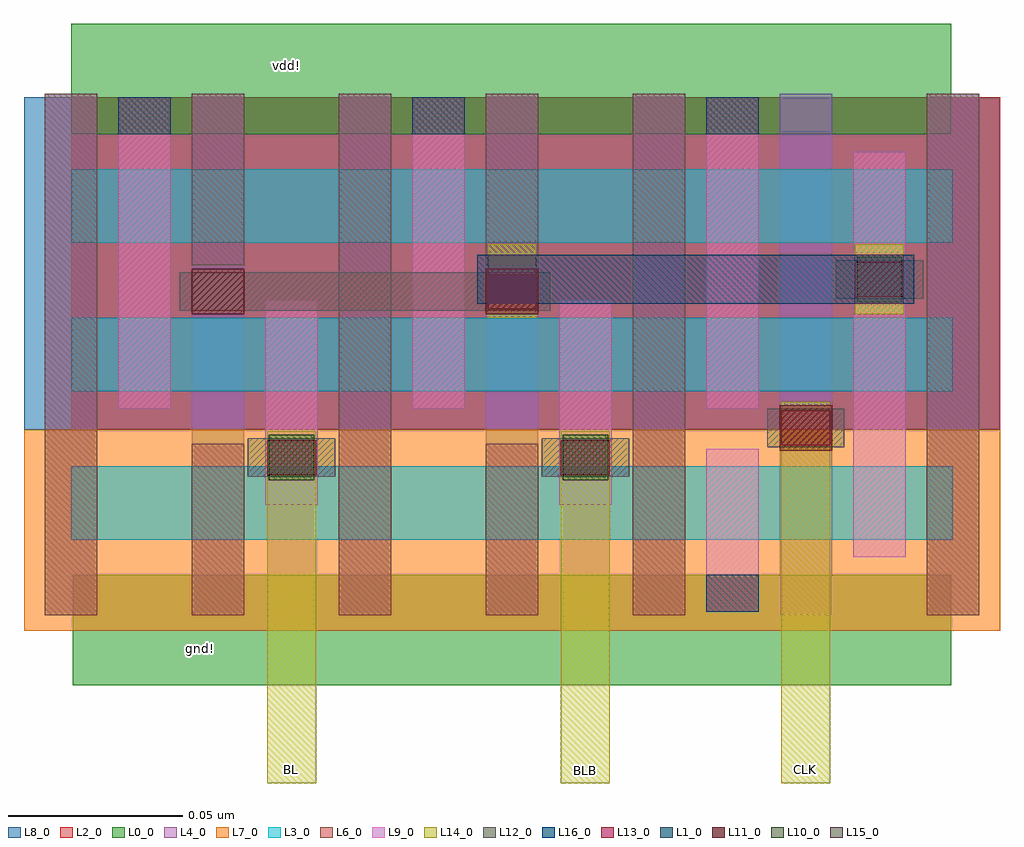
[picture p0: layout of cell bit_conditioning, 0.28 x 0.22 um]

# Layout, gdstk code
import gdstk
lib = gdstk.Library(unit=1e-6, precision=5e-10)
def R(c, l, rs):  # rectangles x0, y0, x1, y1
    for r in rs: c.add(gdstk.rectangle(r[:2], r[2:], *l))
def A(c, l, x, y, w, h, nx, ny, dx, dy):  # array of equal rectangles
    R(c, l, [(x+i*dx, y+j*dy, x+i*dx+w, y+j*dy+h) for i in range(nx) for j in range(ny)])
L0_0 = (0, 0)
L1_0 = (1, 0)
L2_0 = (2, 0)
L3_0 = (3, 0)
L4_0 = (4, 0)
L6_0 = (6, 0)
L7_0 = (7, 0)
L8_0 = (8, 0)
L9_0 = (9, 0)
L10_0 = (10, 0)
L11_0 = (11, 0)
L12_0 = (12, 0)
L13_0 = (13, 0)
L14_0 = (14, 0)
L15_0 = (15, 0)
L16_0 = (16, 0)

gate_m0b = lib.new_cell('GATE_M0B')
R(gate_m0b, L4_0, [(-0.0075,-0.0115,0.0075,0.0115)])
R(gate_m0b, L11_0, [(-0.0075,-0.0065,0.0075,0.0065)])
R(gate_m0b, L12_0, [(-0.011,-0.0055,0.011,0.0055)])

pmos = lib.new_cell('pmos')
R(pmos, L2_0, [(-0.042,-0.0205,0.042,0.0205)])
R(pmos, L3_0, [(-0.042,-0.0105,0.042,0.0105)])
A(pmos, L4_0, -0.0495, -0.032, 0.015, 0.064, 3, 1, 0.042, 0)
R(pmos, L8_0, [(-0.0555,-0.0205,0.0555,0.0205)])
R(pmos, L9_0, [(-0.0285,-0.0155,-0.0135,0.0155), (0.0135,-0.0155,0.0285,0.0155)])

bpr_m0a = lib.new_cell('BPR_M0A')
R(bpr_m0a, L0_0, [(-0.021,-0.0055,0.021,0.026)])
R(bpr_m0a, L1_0, [(-0.0075,-0.0055,0.0075,0.005)])
R(bpr_m0a, L9_0, [(-0.0075,-0.0165,0.0075,0.005)])

m0a_m0b = lib.new_cell('M0A_M0B')
R(m0a_m0b, L9_0, [(-0.0075,-0.0055,0.0075,0.0055)])
R(m0a_m0b, L10_0, [(-0.0065,-0.0065,0.0065,0.0065)])
R(m0a_m0b, L12_0, [(-0.0125,-0.0055,0.0125,0.0055)])

m0b_m1 = lib.new_cell('M0B_M1')
R(m0b_m1, L12_0, [(-0.011,-0.005,0.011,0.005)])
R(m0b_m1, L13_0, [(-0.007,-0.005,0.007,0.005)])
R(m0b_m1, L14_0, [(-0.007,-0.0075,0.007,0.0075)])

nmos = lib.new_cell('nmos')
R(nmos, L3_0, [(-0.042,-0.0105,0.042,0.0105)])
A(nmos, L4_0, -0.0495, -0.032, 0.015, 0.064, 3, 1, 0.042, 0)
R(nmos, L7_0, [(-0.0555,-0.021,0.0555,0.0205)])
R(nmos, L9_0, [(-0.0285,-0.0155,-0.0135,0.0155), (0.0135,-0.0155,0.0285,0.0155)])

inv_2 = lib.new_cell('inv_2')
R(inv_2, L0_0, [(-0.042,-0.052,0.0415,-0.0205), (0.012,-0.0415,0.031,-0.0285), (-0.042,0.1055,0.0415,0.137), (0.0105,0.114,0.0315,0.127)])
R(inv_2, L2_0, [(-0.0555,0.021,0.0555,0.116)])
R(inv_2, L6_0, [(-0.0495,-0.032,-0.0345,0.117), (0.0345,-0.032,0.0495,0.117)])
R(inv_2, L7_0, [(-0.0555,-0.0365,0.0555,0.021)])
R(inv_2, L8_0, [(-0.0555,0.021,0.0555,0.116)])
R(inv_2, L9_0, [(0.0135,0.0155,0.0285,0.027), (-0.0285,0.058,-0.0135,0.0695), (0.0135,0.058,0.0285,0.0695)])
R(inv_2, L12_0, [(-0.0075,0.016,0.0075,0.027), (0.0135,0.0585,0.0285,0.0695)])
inv_2.add(gdstk.Reference(nmos, (0,0)))
inv_2.add(gdstk.Reference(pmos, (0,0.085)))
inv_2.add(gdstk.Reference(pmos, (0,0.0425)))
inv_2.add(gdstk.Reference(bpr_m0a, (-0.021,-0.026), x_reflection=True))
inv_2.add(gdstk.Reference(bpr_m0a, (-0.021,0.111)))
inv_2.add(gdstk.Reference(m0a_m0b, (0.021,0.064)))
inv_2.add(gdstk.Reference(gate_m0b, (0,0.0215)))
inv_2.add(gdstk.Label('gnd!', (0.0215,-0.035), layer=0, texttype=0))
inv_2.add(gdstk.Label('vdd!', (0.021,0.1205), layer=0, texttype=0))
inv_2.add(gdstk.Label('Z', (0.021,0.064), layer=12, texttype=0))
inv_2.add(gdstk.Label('A', (0,0.0215), layer=12, texttype=0))

m1_m2 = lib.new_cell('M1_M2')
R(m1_m2, L14_0, [(-0.007,-0.01,0.007,0.01)])
R(m1_m2, L15_0, [(-0.007,-0.007,0.007,0.007)])
R(m1_m2, L16_0, [(-0.01,-0.007,0.01,0.007)])

bit_conditioning = lib.new_cell('bit_conditioning')
R(bit_conditioning, L0_0, [(0.5405,0.365,0.708,0.3965), (0.566,0.369,0.5885,0.382), (0.5405,0.5225,0.708,0.554), (0.592,0.536,0.6115,0.5485)])
R(bit_conditioning, L2_0, [(0.54,0.438,0.6945,0.533)])
R(bit_conditioning, L3_0, [(0.54,0.4065,0.624,0.4275), (0.624,0.4065,0.708,0.4275), (0.54,0.4915,0.624,0.5125), (0.624,0.4915,0.708,0.5125)])
A(bit_conditioning, L4_0, 0.5325, 0.385, 0.015, 0.0425, 4, 2, 0.042, 0.1065)
R(bit_conditioning, L4_0, [(0.6585,0.4915,0.6735,0.534)])
A(bit_conditioning, L6_0, 0.5745, 0.385, 0.015, 0.049, 3, 2, 0.042, 0.1)
R(bit_conditioning, L6_0, [(0.5325,0.385,0.5475,0.534), (0.6165,0.434,0.6315,0.485)])
R(bit_conditioning, L7_0, [(0.5265,0.3805,0.6945,0.438)])
R(bit_conditioning, L8_0, [(0.5265,0.438,0.6945,0.533)])
R(bit_conditioning, L9_0, [(0.5955,0.4165,0.6105,0.444), (0.6795,0.4165,0.6945,0.444), (0.5955,0.4225,0.6105,0.4275), (0.6795,0.4225,0.6945,0.444), (0.5535,0.475,0.5685,0.519), (0.6375,0.475,0.6525,0.519)])
R(bit_conditioning, L12_0, [(0.571,0.472,0.677,0.483)])
R(bit_conditioning, L14_0, [(0.596,0.337,0.61,0.345), (0.596,0.337,0.61,0.4375), (0.68,0.337,0.694,0.3445), (0.68,0.337,0.694,0.4375), (0.743,0.337,0.757,0.446), (0.743,0.337,0.757,0.345), (0.659,0.47,0.673,0.491)])
R(bit_conditioning, L16_0, [(0.656,0.474,0.781,0.488)])
bit_conditioning.add(gdstk.Reference(gate_m0b, (0.582,0.4775)))
bit_conditioning.add(gdstk.Reference(gate_m0b, (0.666,0.4775)))
bit_conditioning.add(gdstk.Reference(pmos, (0.582,0.4595)))
bit_conditioning.add(gdstk.Reference(pmos, (0.666,0.4595)))
bit_conditioning.add(gdstk.Reference(bpr_m0a, (0.561,0.528)))
bit_conditioning.add(gdstk.Reference(bpr_m0a, (0.645,0.528)))
bit_conditioning.add(gdstk.Reference(m0a_m0b, (0.603,0.43)))
bit_conditioning.add(gdstk.Reference(m0a_m0b, (0.687,0.43)))
bit_conditioning.add(gdstk.Reference(m0b_m1, (0.75,0.4385)))
bit_conditioning.add(gdstk.Reference(m0b_m1, (0.771,0.481)))
bit_conditioning.add(gdstk.Reference(m0b_m1, (0.603,0.43)))
bit_conditioning.add(gdstk.Reference(m0b_m1, (0.666,0.4775)))
bit_conditioning.add(gdstk.Reference(m0b_m1, (0.687,0.43)))
bit_conditioning.add(gdstk.Reference(inv_2, (0.75,0.417)))
bit_conditioning.add(gdstk.Reference(m1_m2, (0.771,0.481)))
bit_conditioning.add(gdstk.Reference(m1_m2, (0.666,0.481)))
bit_conditioning.add(gdstk.Label('vdd!', (0.6015,0.542), layer=0, texttype=0))
bit_conditioning.add(gdstk.Label('gnd!', (0.577,0.3755), layer=0, texttype=0))
bit_conditioning.add(gdstk.Label('CLK', (0.75,0.341), layer=14, texttype=0))
bit_conditioning.add(gdstk.Label('BL', (0.603,0.341), layer=14, texttype=0))
bit_conditioning.add(gdstk.Label('BLB', (0.687,0.3405), layer=14, texttype=0))

lib.write_gds('bit_conditioning.gds')
